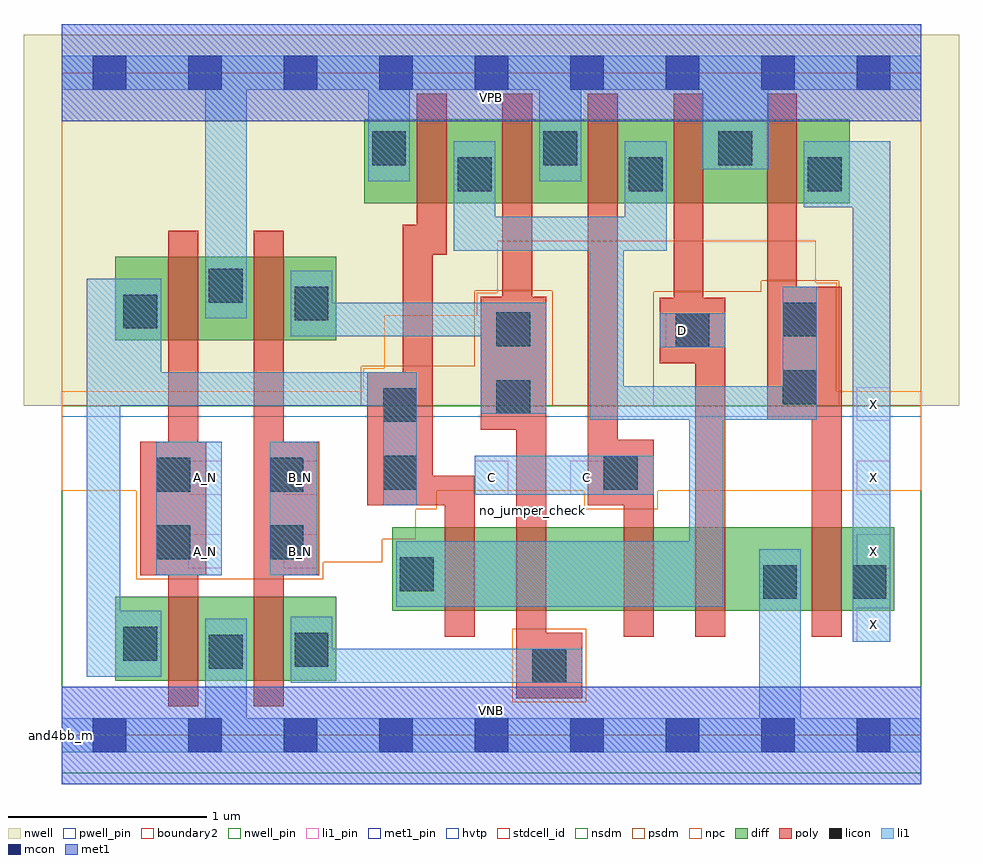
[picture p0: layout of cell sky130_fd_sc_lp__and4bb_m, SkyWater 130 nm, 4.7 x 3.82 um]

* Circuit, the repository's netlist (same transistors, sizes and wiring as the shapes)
* Copyright 2020 The SkyWater PDK Authors
*
* Licensed under the Apache License, Version 2.0 (the "License");
* you may not use this file except in compliance with the License.
* You may obtain a copy of the License at
*
*     https://www.apache.org/licenses/LICENSE-2.0
*
* Unless required by applicable law or agreed to in writing, software
* distributed under the License is distributed on an "AS IS" BASIS,
* WITHOUT WARRANTIES OR CONDITIONS OF ANY KIND, either express or implied.
* See the License for the specific language governing permissions and
* limitations under the License.
*
* SPDX-License-Identifier: Apache-2.0

.SUBCKT sky130_fd_sc_lp__and4bb_m A_N B_N C D VGND VNB VPB VPWR X
*.PININFO A_N:I B_N:I C:I D:I VGND:I VNB:I VPB:I VPWR:I X:O
MMP0 y A VPWR VPB sky130_fd_pr__pfet_01v8_hvt m=1 w=0.42U l=0.15U mult=1 sa=0.265
+ sb=0.265 sd=0.28 area=0.063 perim=1.14
MMP1 y B VPWR VPB sky130_fd_pr__pfet_01v8_hvt m=1 w=0.42U l=0.15U mult=1 sa=0.265
+ sb=0.265 sd=0.28 area=0.063 perim=1.14
MMP2 y C VPWR VPB sky130_fd_pr__pfet_01v8_hvt m=1 w=0.42U l=0.15U mult=1 sa=0.265
+ sb=0.265 sd=0.28 area=0.063 perim=1.14
MMP3 y D VPWR VPB sky130_fd_pr__pfet_01v8_hvt m=1 w=0.42U l=0.15U mult=1 sa=0.265
+ sb=0.265 sd=0.28 area=0.063 perim=1.14
MMIP0 A A_N VPWR VPB sky130_fd_pr__pfet_01v8_hvt m=1 w=0.42U l=0.15U mult=1 sa=0.265
+ sb=0.265 sd=0.28 area=0.063 perim=1.14
MMIP1 B B_N VPWR VPB sky130_fd_pr__pfet_01v8_hvt m=1 w=0.42U l=0.15U mult=1 sa=0.265
+ sb=0.265 sd=0.28 area=0.063 perim=1.14
MMIP2 X y VPWR VPB sky130_fd_pr__pfet_01v8_hvt m=1 w=0.42U l=0.15U mult=1 sa=0.265
+ sb=0.265 sd=0.28 area=0.063 perim=1.14
MMN0 y A sndA VNB sky130_fd_pr__nfet_01v8 m=1 w=0.42U l=0.15U mult=1 sa=0.265 sb=0.265
+ sd=0.28 area=0.063 perim=1.14
MMN1 sndA B sndB VNB sky130_fd_pr__nfet_01v8 m=1 w=0.42U l=0.15U mult=1 sa=0.265
+ sb=0.265 sd=0.28 area=0.063 perim=1.14
MMN2 sndB C sndC VNB sky130_fd_pr__nfet_01v8 m=1 w=0.42U l=0.15U mult=1 sa=0.265
+ sb=0.265 sd=0.28 area=0.063 perim=1.14
MMN3 sndC D VGND VNB sky130_fd_pr__nfet_01v8 m=1 w=0.42U l=0.15U mult=1 sa=0.265
+ sb=0.265 sd=0.28 area=0.063 perim=1.14
MMIN0 A A_N VGND VNB sky130_fd_pr__nfet_01v8 m=1 w=0.42U l=0.15U mult=1 sa=0.265
+ sb=0.265 sd=0.28 area=0.063 perim=1.14
MMIN1 B B_N VGND VNB sky130_fd_pr__nfet_01v8 m=1 w=0.42U l=0.15U mult=1 sa=0.265
+ sb=0.265 sd=0.28 area=0.063 perim=1.14
MMIN2 X y VGND VNB sky130_fd_pr__nfet_01v8 m=1 w=0.42U l=0.15U mult=1 sa=0.265
+ sb=0.265 sd=0.28 area=0.063 perim=1.14
.ENDS sky130_fd_sc_lp__and4bb_m

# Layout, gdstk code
import gdstk
lib = gdstk.Library(unit=1e-6, precision=1e-09)
def R(c, l, rs):  # rectangles x0, y0, x1, y1
    for r in rs: c.add(gdstk.rectangle(r[:2], r[2:], *l))
def A(c, l, x, y, w, h, nx, ny, dx, dy):  # array of equal rectangles
    R(c, l, [(x+i*dx, y+j*dy, x+i*dx+w, y+j*dy+h) for i in range(nx) for j in range(ny)])
def P(c, l, *ps):  # polygons
    for p in ps: c.add(gdstk.Polygon(p, *l))
nwell_pin = (64, 16)
nwell = (64, 20)
diff = (65, 20)
poly = (66, 20)
licon = (66, 44)
li1_pin = (67, 16)
li1 = (67, 20)
mcon = (67, 44)
met1_pin = (68, 16)
met1 = (68, 20)
hvtp = (78, 44)
stdcell_id = (81, 4)
nsdm = (93, 44)
psdm = (94, 20)
npc = (95, 20)
pwell_pin = (122, 16)
boundary2 = (236, 0)

sky130_fd_sc_lp__and4bb_ = lib.new_cell('sky130_fd_sc_lp__and4bb_m')
R(sky130_fd_sc_lp__and4bb_, nwell_pin, [(0,3.085,4.32,3.33)])
R(sky130_fd_sc_lp__and4bb_, nwell, [(-0.19,1.655,4.51,3.52)])
R(sky130_fd_sc_lp__and4bb_, diff, [(0.27,0.275,1.38,0.695), (1.66,0.625,4.185,1.045), (0.27,1.985,1.38,2.405), (1.52,2.675,3.96,3.095)])
P(sky130_fd_sc_lp__and4bb_, poly, [(0.725,1.475),(0.685,1.475),(0.685,2.535),(0.535,2.535),(0.535,1.475),(0.395,1.475),(0.395,0.805),(0.535,0.805),(0.535,0.145),(0.685,0.145),(0.685,0.805),(0.725,0.805)],
  [(1.295,1.475),(1.115,1.475),(1.115,2.535),(0.965,2.535),(0.965,0.145),(1.115,0.145),(1.115,0.805),(1.295,0.805)],
  [(2.075,1.305),(1.865,1.305),(1.865,2.415),(1.935,2.415),(1.935,3.225),(1.785,3.225),(1.785,2.565),(1.715,2.565),(1.715,1.825),(1.535,1.825),(1.535,1.155),(1.925,1.155),(1.925,0.495),(2.075,0.495)],
  [(2.615,0.515),(2.435,0.515),(2.435,2.205),(2.365,2.205),(2.365,3.225),(2.215,3.225),(2.215,2.205),(2.105,2.205),(2.105,1.535),(2.285,1.535),(2.285,0.185),(2.615,0.185)],
  [(2.975,1.485),(2.795,1.485),(2.795,3.225),(2.645,3.225),(2.645,1.155),(2.825,1.155),(2.825,0.495),(2.975,0.495)],
  [(3.335,2.2),(3.225,2.2),(3.225,3.225),(3.075,3.225),(3.075,2.2),(3.005,2.2),(3.005,1.87),(3.185,1.87),(3.185,0.495),(3.335,0.495)],
  [(3.92,2.255),(3.695,2.255),(3.695,3.225),(3.545,3.225),(3.545,1.585),(3.77,1.585),(3.77,0.495),(3.92,0.495)])
R(sky130_fd_sc_lp__and4bb_, licon, [(2.365,0.265,2.535,0.435), (0.74,0.335,0.91,0.505), (1.17,0.345,1.34,0.515), (0.31,0.375,0.48,0.545), (3.525,0.685,3.695,0.855), (3.975,0.685,4.145,0.855), (1.7,0.725,1.87,0.895), (0.475,0.885,0.645,1.055), (1.045,0.885,1.215,1.055), (0.475,1.225,0.645,1.395), (1.045,1.225,1.215,1.395), (1.615,1.235,1.785,1.405), (2.725,1.235,2.895,1.405), (1.615,1.575,1.785,1.745), (2.185,1.615,2.355,1.785), (3.625,1.665,3.795,1.835), (3.085,1.95,3.255,2.12), (2.185,1.955,2.355,2.125), (3.625,2.005,3.795,2.175), (0.31,2.045,0.48,2.215), (1.17,2.085,1.34,2.255), (0.74,2.175,0.91,2.345), (1.99,2.735,2.16,2.905), (2.85,2.735,3.02,2.905), (3.75,2.735,3.92,2.905), (1.56,2.865,1.73,3.035), (2.42,2.865,2.59,3.035), (3.3,2.865,3.47,3.035)])
A(sky130_fd_sc_lp__and4bb_, li1_pin, 3.995, 0.47, 0.17, 0.17, 1, 4, 0, 0.37)
R(sky130_fd_sc_lp__and4bb_, li1_pin, [(0.635,0.84,0.805,1.01), (1.115,0.84,1.285,1.01), (0.635,1.21,0.805,1.38), (1.115,1.21,1.285,1.38), (2.075,1.21,2.245,1.38), (2.555,1.21,2.725,1.38), (3.035,1.95,3.205,2.12)])
R(sky130_fd_sc_lp__and4bb_, li1, [(0.475,0.805,0.805,1.475), (1.045,0.805,1.285,1.475), (2.075,1.21,2.975,1.405), (3.005,1.95,3.335,2.12)])
P(sky130_fd_sc_lp__and4bb_, li1, [(0.72,2.095),(0.72,3.245),(0,3.245),(0,3.415),(4.32,3.415),(4.32,3.245),(3.55,3.245),(3.55,2.845),(3.22,2.845),(3.22,3.245),(2.61,3.245),(2.61,2.785),(2.4,2.785),(2.4,3.245),(1.75,3.245),(1.75,2.785),(1.54,2.785),(1.54,3.245),(0.93,3.245),(0.93,2.095)],
  [(0.72,0.085),(0.72,0.585),(0.93,0.585),(0.93,0.085),(3.505,0.085),(3.505,0.935),(3.715,0.935),(3.715,0.085),(4.32,0.085),(4.32,-0.085),(0,-0.085),(0,0.085)],
  [(0.5,1.825),(1.785,1.825),(1.785,1.155),(1.615,1.155),(1.615,1.655),(0.295,1.655),(0.295,0.625),(0.5,0.625),(0.5,0.295),(0.125,0.295),(0.125,2.295),(0.5,2.295)],
  [(1.36,0.435),(2.615,0.435),(2.615,0.265),(1.15,0.265),(1.15,0.595),(1.36,0.595)],
  [(3.975,0.47),(3.975,2.655),(3.73,2.655),(3.73,2.985),(4.165,2.985),(4.165,0.47)],
  [(1.68,0.645),(1.68,0.975),(3.155,0.975),(3.155,1.585),(2.655,1.585),(2.655,2.435),(1.97,2.435),(1.97,2.985),(2.18,2.985),(2.18,2.605),(2.83,2.605),(2.83,2.985),(3.04,2.985),(3.04,2.435),(2.825,2.435),(2.825,1.755),(3.625,1.755),(3.625,2.255),(3.795,2.255),(3.795,1.585),(3.325,1.585),(3.325,0.645)],
  [(2.105,1.615),(2.105,2.005),(1.15,2.005),(1.15,2.335),(1.36,2.335),(1.36,2.175),(2.435,2.175),(2.435,1.615)])
A(sky130_fd_sc_lp__and4bb_, mcon, 0.155, -0.085, 0.17, 0.17, 9, 2, 0.48, 3.33)
R(sky130_fd_sc_lp__and4bb_, met1_pin, [(0,0,4.32,0.245), (0,3.085,4.32,3.33)])
R(sky130_fd_sc_lp__and4bb_, met1, [(0,-0.245,4.32,0.245), (0,3.085,4.32,3.575)])
R(sky130_fd_sc_lp__and4bb_, hvtp, [(0,1.6,4.32,3.33)])
R(sky130_fd_sc_lp__and4bb_, stdcell_id, [(0,0,4.32,3.33)])
R(sky130_fd_sc_lp__and4bb_, nsdm, [(0,-0.19,4.32,1.655)])
P(sky130_fd_sc_lp__and4bb_, psdm, [(4.32,3.52),(0,3.52),(0,1.655),(1.505,1.655),(1.505,1.855),(2.075,1.855),(2.075,2.235),(2.465,2.235),(2.465,1.655),(2.975,1.655),(2.975,2.23),(3.515,2.23),(3.515,2.285),(3.905,2.285),(3.905,1.655),(4.32,1.655)])
R(sky130_fd_sc_lp__and4bb_, npc, [(2.265,0.165,2.635,0.535)])
P(sky130_fd_sc_lp__and4bb_, npc, [(4.32,1.73),(3.895,1.73),(3.895,2.275),(3.79,2.275),(3.79,2.485),(2.19,2.485),(2.19,2.225),(2.085,2.225),(2.085,2.11),(1.62,2.11),(1.62,1.845),(1.515,1.845),(1.515,1.73),(0,1.73),(0,1.23),(0.375,1.23),(0.375,0.785),(1.315,0.785),(1.315,0.87),(1.61,0.87),(1.61,0.985),(1.78,0.985),(1.78,1.135),(1.885,1.135),(1.885,1.23),(2.625,1.23),(2.625,1.135),(2.995,1.135),(2.995,1.23),(4.32,1.23)])
R(sky130_fd_sc_lp__and4bb_, pwell_pin, [(0,0,4.32,0.245)])
R(sky130_fd_sc_lp__and4bb_, boundary2, [(0,0,4.32,3.33)])
sky130_fd_sc_lp__and4bb_.add(gdstk.Label('VNB', (2.16,0.123), layer=64, texttype=59))
sky130_fd_sc_lp__and4bb_.add(gdstk.Label('VPB', (2.16,3.208), layer=64, texttype=5))
sky130_fd_sc_lp__and4bb_.add(gdstk.Label('and4bb_m', (0,0), layer=83, texttype=44))
sky130_fd_sc_lp__and4bb_.add(gdstk.Label('no_jumper_check', (2.365,1.13), layer=83, texttype=44))
sky130_fd_sc_lp__and4bb_.add(gdstk.Label('VPWR', (2.16,3.208), layer=68, texttype=5))
sky130_fd_sc_lp__and4bb_.add(gdstk.Label('VGND', (2.16,0.123), layer=68, texttype=5))
sky130_fd_sc_lp__and4bb_.add(gdstk.Label('C', (2.16,1.295), layer=67, texttype=5))
sky130_fd_sc_lp__and4bb_.add(gdstk.Label('C', (2.64,1.295), layer=67, texttype=5))
sky130_fd_sc_lp__and4bb_.add(gdstk.Label('D', (3.12,2.035), layer=67, texttype=5))
sky130_fd_sc_lp__and4bb_.add(gdstk.Label('A_N', (0.72,0.925), layer=67, texttype=5))
sky130_fd_sc_lp__and4bb_.add(gdstk.Label('A_N', (0.72,1.295), layer=67, texttype=5))
sky130_fd_sc_lp__and4bb_.add(gdstk.Label('B_N', (1.2,0.925), layer=67, texttype=5))
sky130_fd_sc_lp__and4bb_.add(gdstk.Label('B_N', (1.2,1.295), layer=67, texttype=5))
sky130_fd_sc_lp__and4bb_.add(gdstk.Label('X', (4.08,0.555), layer=67, texttype=5))
sky130_fd_sc_lp__and4bb_.add(gdstk.Label('X', (4.08,0.925), layer=67, texttype=5))
sky130_fd_sc_lp__and4bb_.add(gdstk.Label('X', (4.08,1.295), layer=67, texttype=5))
sky130_fd_sc_lp__and4bb_.add(gdstk.Label('X', (4.08,1.665), layer=67, texttype=5))

lib.write_gds('sky130_fd_sc_lp__and4bb_m.gds')
